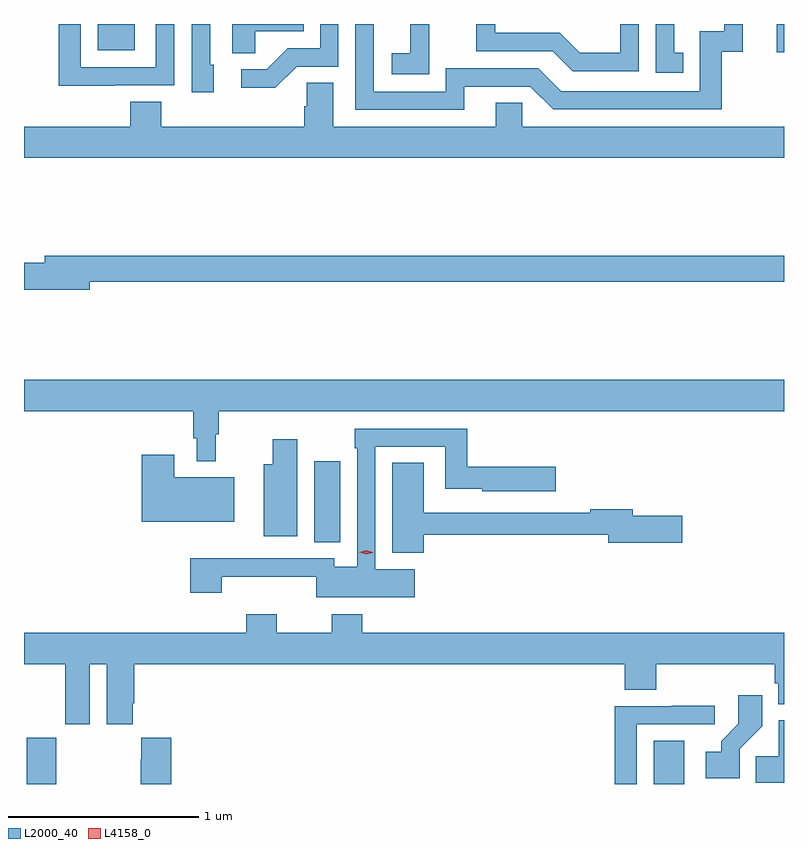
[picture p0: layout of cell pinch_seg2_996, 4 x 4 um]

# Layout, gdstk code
import gdstk
lib = gdstk.Library(unit=1e-6, precision=1e-09)
def R(c, l, rs):  # rectangles x0, y0, x1, y1
    for r in rs: c.add(gdstk.rectangle(r[:2], r[2:], *l))
def P(c, l, *ps):  # polygons
    for p in ps: c.add(gdstk.Polygon(p, *l))
L2000_40 = (2000, 40)
L4158_0 = (4158, 0)

pinch_seg2_996 = lib.new_cell('pinch_seg2_996')
R(pinch_seg2_996, L2000_40, [(311.467,597.721,311.622,597.964), (314.768,597.721,314.929,597.949), (312.98,598.993,313.117,599.419), (315.416,601.572,315.453,601.721), (311.84,601.583,312.037,601.721)])
P(pinch_seg2_996, L2000_40, [(313.771,601.392),(314.118,601.392),(314.238,601.272),(315.125,601.272),(315.125,601.575),(315.236,601.575),(315.236,601.721),(315.138,601.721),(315.138,601.683),(315.009,601.683),(315.009,601.368),(314.28,601.368),(314.16,601.488),(313.674,601.488),(313.674,601.365),(313.293,601.365),(313.293,601.721),(313.197,601.721),(313.197,601.269),(313.771,601.269)],
  [(312.451,601.506),(312.432,601.506),(312.432,601.721),(312.336,601.721),(312.336,601.362),(312.451,601.362)],
  [(312.888,601.497),(313.107,601.497),(313.107,601.721),(313.011,601.721),(313.011,601.593),(312.842,601.593),(312.731,601.482),(312.597,601.482),(312.597,601.385),(312.775,601.385)],
  [(313.587,601.663),(313.586,601.663),(313.586,601.721),(313.487,601.721),(313.487,601.567),(313.389,601.567),(313.389,601.457),(313.587,601.457)],
  [(314.688,601.721),(314.592,601.721),(314.592,601.57),(314.378,601.57),(314.274,601.674),(313.932,601.674),(313.932,601.721),(313.834,601.721),(313.834,601.578),(314.237,601.578),(314.342,601.473),(314.688,601.473)],
  [(312.669,601.682),(312.926,601.682),(312.926,601.721),(312.548,601.721),(312.548,601.567),(312.669,601.567)],
  [(314.924,601.569),(314.875,601.569),(314.875,601.721),(314.778,601.721),(314.778,601.464),(314.924,601.464)],
  [(311.927,601.398),(312.243,601.398),(312.243,601.721),(312.147,601.721),(312.147,601.494),(311.751,601.494),(311.751,601.721),(311.635,601.721),(311.635,601.397),(311.927,601.397)],
  [(315.453,601.18),(314.076,601.18),(314.076,601.307),(313.937,601.307),(313.937,601.18),(313.081,601.18),(313.081,601.412),(312.942,601.412),(312.942,601.289),(312.929,601.289),(312.929,601.18),(312.176,601.18),(312.176,601.313),(312.011,601.313),(312.011,601.18),(311.453,601.18),(311.453,601.016),(315.453,601.016)],
  [(311.8,600.364),(315.453,600.364),(315.453,600.5),(311.561,600.5),(311.561,600.464),(311.453,600.464),(311.453,600.322),(311.8,600.322)],
  [(312.462,599.561),(312.479,599.561),(312.479,599.684),(315.453,599.684),(315.453,599.848),(311.453,599.848),(311.453,599.684),(312.343,599.684),(312.343,599.542),(312.363,599.542),(312.363,599.421),(312.462,599.421)],
  [(313.51,598.852),(313.302,598.852),(313.302,599.496),(313.671,599.496),(313.671,599.274),(313.866,599.274),(313.866,599.261),(314.251,599.261),(314.251,599.391),(313.787,599.391),(313.787,599.592),(313.194,599.592),(313.194,599.489),(313.206,599.489),(313.206,598.864),(313.086,598.864),(313.086,598.908),(312.577,598.908),(312.577,598.91),(312.329,598.91),(312.329,598.728),(312.494,598.728),(312.494,598.811),(312.99,598.811),(312.99,598.703),(313.51,598.703)],
  [(312.892,599.536),(312.763,599.536),(312.763,599.404),(312.716,599.404),(312.716,599.024),(312.892,599.024)],
  [(312.559,599.335),(312.244,599.335),(312.244,599.455),(312.074,599.455),(312.074,599.102),(312.559,599.102)],
  [(313.558,599.032),(314.528,599.032),(314.528,598.99),(314.917,598.99),(314.917,599.132),(314.656,599.132),(314.656,599.168),(314.432,599.168),(314.432,599.148),(313.558,599.148),(313.558,599.411),(313.391,599.411),(313.391,598.937),(313.558,598.937)],
  [(311.8,598.352),(311.888,598.352),(311.888,598.035),(312.025,598.035),(312.025,598.147),(312.032,598.147),(312.032,598.352),(314.615,598.352),(314.615,598.216),(314.78,598.216),(314.78,598.352),(315.403,598.352),(315.403,598.251),(315.423,598.251),(315.423,598.142),(315.453,598.142),(315.453,598.516),(313.232,598.516),(313.232,598.615),(313.072,598.615),(313.072,598.516),(312.783,598.516),(312.783,598.615),(312.623,598.615),(312.623,598.516),(311.453,598.516),(311.453,598.352),(311.669,598.352),(311.669,598.035),(311.8,598.035)],
  [(315.219,597.907),(315.338,598.026),(315.338,598.189),(315.213,598.189),(315.213,598.037),(315.122,597.947),(315.122,597.892),(315.042,597.892),(315.042,597.752),(315.219,597.752)],
  [(314.679,598.035),(315.088,598.035),(315.088,598.134),(314.863,598.134),(314.863,598.131),(314.563,598.131),(314.563,597.721),(314.679,597.721)],
  [(315.453,598.057),(315.425,598.057),(315.425,597.866),(315.304,597.866),(315.304,597.728),(315.453,597.728)],
  [(312.227,597.964),(312.071,597.964),(312.071,597.851),(312.067,597.851),(312.067,597.721),(312.227,597.721)])
P(pinch_seg2_996, L4158_0, [(313.253,598.93),(313.218,598.941),(313.218,598.941),(313.218,598.942),(313.254,598.95),(313.288,598.94),(313.288,598.939),(313.288,598.939)])

lib.write_gds('pinch_seg2_996.gds')
